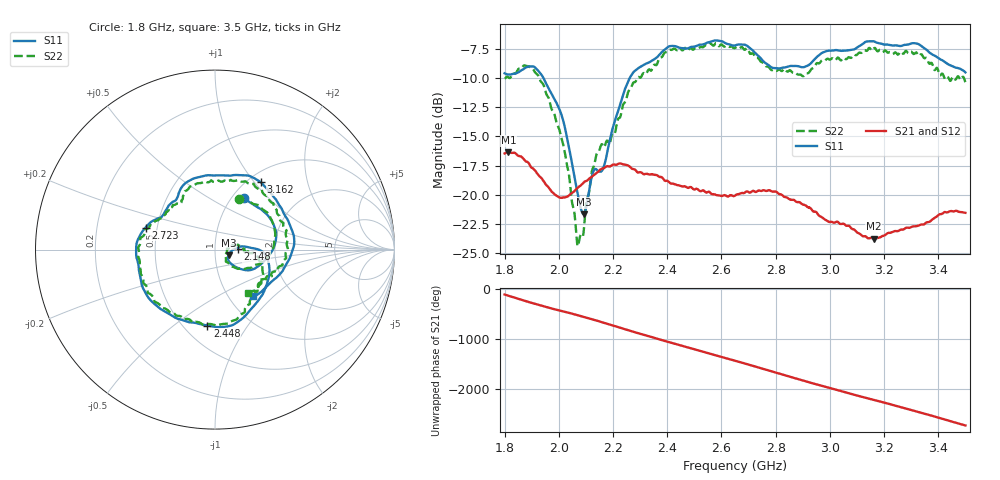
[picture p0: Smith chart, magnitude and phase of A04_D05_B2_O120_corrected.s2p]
! Created with skrf 1.9.0 (http://scikit-rf.org).
# Hz S RI R 50.0
!freq ReS11 ImS11 ReS21 ImS21 ReS12 ImS12 ReS22 ImS22
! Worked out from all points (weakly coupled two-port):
!   1601 points, 1.8 GHz to 3.5 GHz, reference 50 ohm
!   highest |S21| = -16.35 dB at 1.814 GHz (marker M1); lowest = -23.7 dB at 3.162 GHz (marker M2)
!   lowest |S11| = -21.6 dB at 2.091 GHz (marker M3), VSWR 1.18, Z = 58.2 - j3.62 ohm
!   |S11| at or under -10 dB: 1.943 GHz to 2.262 GHz (318.3 MHz wide, 15.1 % of centre)
!   |S22| runs from -24.4 to -7.0 dB; largest |S21 - S12| = 0.0027
!   S11 on the Smith chart (normalised r, x): 1.8 GHz: 1.13, +0.74; 2.148 GHz: 1.29, +0.01; 2.448 GHz: 0.65, -0.67; 2.723 GHz: 0.43, +0.13; 3.162 GHz: 1.14, +1.08; 3.5 GHz: 1.28, -0.75
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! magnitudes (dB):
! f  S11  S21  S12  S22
! 1.8 GHz  -9.6  -16.4  -16.5  -10.1
! 1.814 GHz  -9.7  -16.4  -16.4  -9.9
! 1.88 GHz  -9.1  -17.1  -17.1  -9.0
! 1.941 GHz  -9.9  -18.7  -18.7  -10.5
! 2.014 GHz  -13.4  -20.2  -20.2  -15.5
! 2.068 GHz  -19.7  -19.4  -19.4  -24.2
! 2.084 GHz  -21.4  -19.1  -19.1  -23.5
! 2.091 GHz  -21.6  -18.9  -19.0  -23.2
! 2.126 GHz  -18.1  -18.4  -18.4  -17.7
! 2.148 GHz  -18.0  -17.9  -17.9  -16.2
! 2.192 GHz  -14.9  -17.5  -17.5  -15.2
! 2.261 GHz  -10.0  -17.6  -17.6  -11.0
! 2.367 GHz  -8.1  -18.4  -18.3  -8.5
! 2.448 GHz  -7.4  -19.2  -19.2  -7.5
! 2.65 GHz  -7.2  -20.1  -20.0  -7.4
! 2.723 GHz  -7.8  -19.7  -19.7  -8.2
! 2.795 GHz  -9.2  -19.7  -19.7  -9.3
! 2.934 GHz  -8.6  -21.3  -21.3  -9.2
! 3.162 GHz  -6.9  -23.7  -23.7  -7.5
! 3.217 GHz  -7.2  -23.2  -23.2  -7.8
! 3.324 GHz  -7.1  -22.6  -22.6  -8.0
! 3.5 GHz  -9.5  -21.5  -21.5  -10.3
